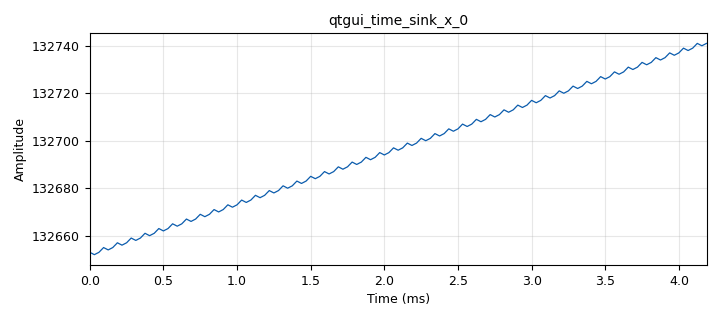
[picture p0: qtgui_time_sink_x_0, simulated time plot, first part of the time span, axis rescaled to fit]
options:
  parameters:
    author: Nohelia
    generate_options: qt_gui
    id: Practica_1
    output_language: python
    title: Not titled yet
  states: {}

blocks:
- name: samp_rate
  id: variable
  parameters:
    value: '32000'
  states: {}
- name: blocks_vector_source_x_0
  id: blocks_vector_source_x
  parameters:
    repeat: 'True'
    type: float
    vector: (1, 2, -1)
  states: {}
- name: epy_block_0
  id: epy_block
  parameters:
    _source_code: "\"\"\"\nEmbedded Python Blocks:\n\nEach time this file is saved, GRC will instantiate the first class it finds\nto get ports and parameters of your block. The arguments to __init__  will\nbe the parameters. All of them are required to have default values!\n\"\"\"\n\nimport numpy as np\nfrom gnuradio import gr\n\n\nclass blk(gr.sync_block):\n\n\tdef __init__(self): # only default arguments here\n\t\tgr.sync_block.__init__(\n\t\t\tself,\n\t\t\tname = 'e_Acum', # will show up in GRC\n\t\t\tin_sig = [np.float32],\n\t\t\tout_sig = [np.float32]\n\t\t)\n\t\tself.total = 0.0\n\n\tdef work(self, input_items, output_items):\n\t\tx = input_items[0] # Senial de entrada .\n\t\ty0 = output_items[0] # Senial acumulada\n\n\t\ty0[:] = np.cumsum(x) + self.total\n\t\tself.total = y0[-1]\n\n\t\treturn len(y0)\n\n"
  states: {}
- name: epy_block_2
  id: epy_block
  parameters:
    _source_code: |-
      """
      Embedded Python Blocks:

      Each time this file is saved, GRC will instantiate the first class it finds
      to get ports and parameters of your block. The arguments to __init__  will
      be the parameters. All of them are required to have default values!
      """

      import numpy as np
      from gnuradio import gr


      class blk(gr.sync_block):

      	def __init__(self): # only default arguments here
      		gr.sync_block.__init__(
      			self,
      			name = 'e_Diff', # will show up in GRC
      			in_sig = [np.float32],
      			out_sig = [np.float32]

      		self.acum_anterior = 0
      		)

      	def work(self, input_items, output_items):
      		x = input_items[0] # Senial de entrada .
      		y0 = output_items[0] # Senial acumulada diferencial

      		N = len(x)
      		diff = np.cumsum(x)-self.acum_anterior
      		self.acum_anterior = diff[N -1]
      		y0[:] = diff

      		return len(y0)
    example_param: '1.0'
  states: {state: disabled}
- name: qtgui_number_sink_0
  id: qtgui_number_sink
  parameters:
    graph_type: qtgui.NUM_GRAPH_HORIZ
    name: Acumulador
    type: float
  states: {state: disabled}
- name: qtgui_time_sink_x_0
  id: qtgui_time_sink_x
  parameters:
    alias: Acumulador
    size: '1024'
    srate: samp_rate
    type: float
  states: {}

connections:
- [blocks_vector_source_x_0, '0', epy_block_0, '0']
- [epy_block_0, '0', qtgui_number_sink_0, '0']
- [epy_block_0, '0', qtgui_time_sink_x_0, '0']

metadata:
  file_format: 1
  grc_version: 3.10.10.0
